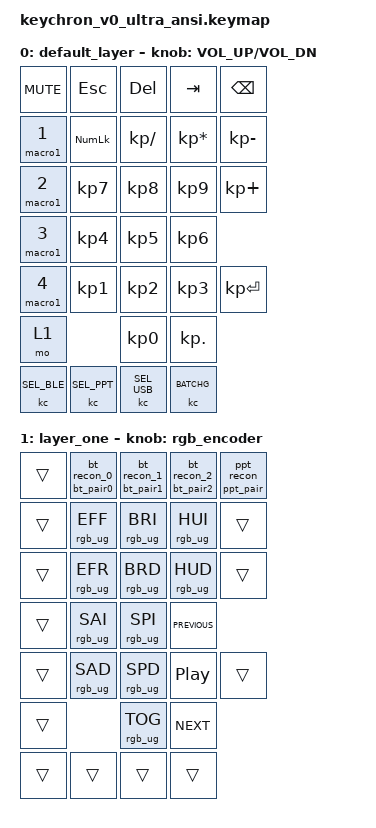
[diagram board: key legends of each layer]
/*
 * Copyright (c) 2023 The ZMK Contributors
 *
 * SPDX-License-Identifier: MIT
 */

#include <behaviors.dtsi>
#include <dt-bindings/zmk/bt.h>
#include <dt-bindings/zmk/keys.h>
#include <dt-bindings/zmk/rgb.h>
#include <dt-bindings/zmk/bt.h>
#include <dt-bindings/zmk/outputs.h>
#include <dt-bindings/zmk/keychron.h>


/ {
    behaviors {
        rgb_encoder: rgb_encoder {
            compatible = "zmk,behavior-sensor-rotate";
            #sensor-binding-cells = <0>;
            bindings = <&rgb_ug RGB_BRI>, <&rgb_ug RGB_BRD>;
            tap-ms =<20>;
        };
        mouse_encoder: mouse_encoder {
            compatible = "zmk,behavior-sensor-rotate-var";
            #sensor-binding-cells = <2>;
            bindings = <&mkp>, <&mkp>;
            tap-ms =<20>;
        };
    };
    macro1:zm_ma{
        compatible = "zmk,behavior-macro-one-param";
        #binding-cells = <1>;
        bindings=<&kp 0x770000>;
    };
    lm: layer_mod {
        compatible = "zmk,behavior-macro-two-param";
        wait-ms = <0>;
        tap-ms = <0>;
        #binding-cells = <2>;
        bindings
            = <&macro_param_1to1>
            , <&macro_press &mo 0>
            , <&macro_param_2to1>
            , <&macro_press &kp 0>
            , <&macro_pause_for_release>
            , <&macro_param_2to1>
            , <&macro_release &kp 0>
            , <&macro_param_1to1>
            , <&macro_release &mo 0>
            ;
    };
    td1:tapd_layer{
        compatible = "zmk,behavior-tap-dance1";
        #binding-cells = <1>;
        tapping-term-ms = <350>;
        bindings =<&mo 0>,<&mo 0>,<&mo 0>,<&mo 0>,<&to 0>;
    };

    kc_lp:l1{
        compatible = "zmk,behavior-hold-tap";
        #binding-cells = <2>;
        flavor = "tap-preferred";
        tapping-term-ms = <3000>;  // delay amount in ms
        bindings = <&kc>,<&none>;
    };

    long_press_bootloader:lp_bootloader{
        compatible = "zmk,behavior-hold-tap";
        #binding-cells = <2>;
        flavor = "tap-preferred";
        tapping-term-ms = <3000>;  // delay amount in ms
        bindings = <&bootloader>, <&none>;
    };
    // kc_nkro:kc_nkro{
    //     compatible = "zmk,behavior-hold-tap";
    //     #binding-cells = <2>;
    //     flavor = "tap-preferred";
    //     tapping-term-ms = <2000>;  // delay amount in ms
    //     bindings = <&kc NKRO>, <&none>;
    // };
    ZMK_MACRO(bt_pair0, bindings = <&kc BT_PAIR 0>;)
    ZMK_MACRO(bt_pair1, bindings = <&kc BT_PAIR 1>;)
    ZMK_MACRO(bt_pair2, bindings = <&kc BT_PAIR 2>;)
    ZMK_MACRO(ppt_pair, bindings = <&kc PPT_PAIR 0>;)
    ZMK_MACRO(bt_recon_0, bindings = <&kc BT_SEL 0>;)
    ZMK_MACRO(bt_recon_1, bindings = <&kc BT_SEL 1>;)
    ZMK_MACRO(bt_recon_2, bindings = <&kc BT_SEL 2>;)
    ZMK_MACRO(ppt_recon, bindings = <&kc PPT_SEL 0>;)
    


    bt_pair_0: bt_pair_0 {
        compatible = "zmk,behavior-hold-tap";
  
        #binding-cells = <2>;
        flavor = "tap-preferred";
        tapping-term-ms = <3000>;  // delay amount in ms
        bindings = <&bt_pair0>, <&bt_recon_0>;
    };
    bt_pair_1: bt_pair_1 {
        compatible = "zmk,behavior-hold-tap";
 
        #binding-cells = <2>;
        flavor = "tap-preferred";
        tapping-term-ms = <3000>;  // delay amount in ms
        bindings = <&bt_pair1>, <&bt_recon_1>;
    };
    bt_pair_2: bt_pair_2 {
        compatible = "zmk,behavior-hold-tap";

        #binding-cells = <2>;
        flavor = "tap-preferred";
        tapping-term-ms = <3000>;  // delay amount in ms
        bindings = <&bt_pair2>, <&bt_recon_2>;
    };
    ppt_pair_0: ppt_pair_0 {
        compatible = "zmk,behavior-hold-tap";

        #binding-cells = <2>;
        flavor = "tap-preferred";
        tapping-term-ms = <3000>;  // delay amount in ms
        bindings = <&ppt_pair>, <&ppt_recon>;
    };
    uc:user_custom {
        compatible = "zmk,behavior-key-press";
        #binding-cells =<1>;
    };
    combos {
        compatible = "zmk,combos";
        combo_a {
                timeout-ms = <500>;
                layers =< 1>;
                key-positions = <13 20>; //fn+j+z
                bindings = <&kc_lp RCV>;
        };
        // combo_b {
        //         timeout-ms = <1000>;
        //         layers =< 1 3>;
        //         key-positions = <64>; //fn+b
        //         bindings = <&kc BATINFO>;
        // };
        // combo_c {
        //         timeout-ms = <1000>;
        //         layers =< 1 3>;
        //         key-positions = <58 81>; //fn+home+right
        //         bindings = <&kc_lp RGBTEST>;
        // };
         combo_t0 {
            timeout-ms = <10 >;
            layers =<4>;          
            key-positions = <120>;  
            bindings = <&to 3 >;
        };
        combo_t1 {
            timeout-ms = <10 >;
            layers =<4>;
          
            key-positions = <120>;  
            bindings = <&tog 3 >;
        };
        combo_t2 {
            timeout-ms = <10 >;
            layers =<4>;          
            key-positions = <120>;  
            bindings = <&sl 3 >;
        };
        combo_t3 {
            timeout-ms = <10 >;
            layers =<4>;          
            key-positions = <120>;  
            bindings = <&lt 3 SPACE>;
        };
        combo_t4 {
            timeout-ms = <10 >;
            layers =<4>;          
            key-positions = <120>;  
            bindings = <&sk LSHIFT>;
        };
        combo_t5 {
            timeout-ms = <10 >;
            layers =<4>;          
            key-positions = <120>;  
            bindings = <&mt LSHIFT SPACE>;
        };
        combo_t6 {
            timeout-ms = <10 >;
            layers =<4>;          
            key-positions = <120>;  
            bindings = <&gresc>;
        };
        //  combo_t7 {
        //     timeout-ms = <10 >;
        //     layers =<4>;          
        //     key-positions = <120>;  
        //     bindings = <&mkp 0>;
        // };
    };
    keymap {
        compatible = "zmk,keymap";
          
        default_layer {
        bindings = <
        //enc             //ESC             //f1              //f2                //f3            
        &kp C_MUTE       &kp ESC            &kp DEL           &kp TAB               &kp BSPC      
        &macro1 1       &kp KP_NUMLOCK     &kp KP_SLASH      &kp KP_MULTIPLY       &kp KP_MINUS 
        &macro1 2       &kp KP_N7          &kp KP_N8         &kp KP_N9             &kp KP_PLUS
        &macro1 3       &kp KP_N4          &kp KP_N5         &kp KP_N6              
        &macro1 4       &kp KP_N1          &kp KP_N2         &kp KP_N3             &kp KP_ENTER
        &mo 1                               &kp KP_N0         &kp KP_DOT           
        &kc SEL_BLE             &kc SEL_PPT        &kc SEL_USB             &kc BATCHG  
            >;
            sensor-bindings = <&inc_dec_kp C_VOL_UP C_VOL_DN>;
        };
       
        layer_one  {
        bindings = < 
            //
        &trans              &bt_pair_0 0 0          &bt_pair_1 0 0          &bt_pair_2 0 0          &ppt_pair_0 0 0
        &trans              &rgb_ug RGB_EFF         &rgb_ug RGB_BRI         &rgb_ug RGB_HUI         &trans
        &trans              &rgb_ug RGB_EFR         &rgb_ug RGB_BRD         &rgb_ug RGB_HUD         &trans
        &trans              &rgb_ug RGB_SAI         &rgb_ug RGB_SPI         &kp C_PREVIOUS
        &trans              &rgb_ug RGB_SAD         &rgb_ug RGB_SPD         &kp C_PLAY_PAUSE        &trans
        &trans                                      &rgb_ug RGB_TOG         &kp C_NEXT
        &trans              &trans                  &trans                  &trans
                                        
        >;
        sensor-bindings = <&rgb_encoder>;
        };
    };
};
&mt {
    tapping-term-ms = <400>;
};
&inc_dec_kp {
    tap-ms=<20>;
};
